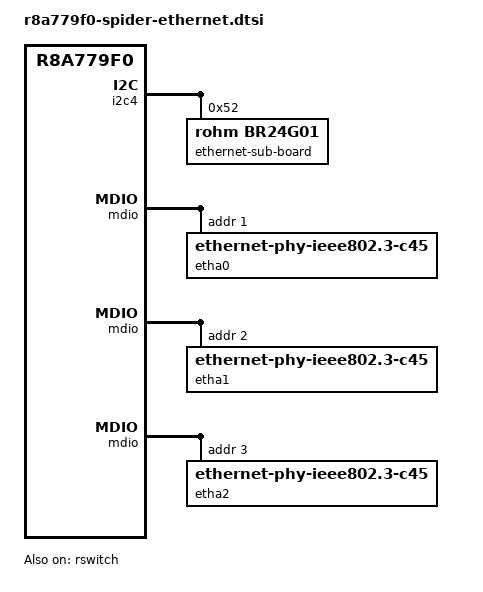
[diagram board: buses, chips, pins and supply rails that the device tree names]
// SPDX-License-Identifier: GPL-2.0
/*
 * Device Tree Source for the Spider Ethernet sub-board
 *
 * Copyright (C) 2021 Renesas Electronics Corp.
 */

&pfc {
	tsn0_pins: tsn0 {
		mux {
			groups = "tsn0_link", "tsn0_mdio";
			function = "tsn0";
			drive-strength = <18>;
			power-source = <1800>;
		};

		pins_mdio {
			groups = "tsn0_mdio";
			drive-strength = <18>;
			power-source = <1800>;
		};
	};

	tsn1_pins: tsn1 {
		mux {
			groups = "tsn1_link", "tsn1_mdio";
			function = "tsn1";
			drive-strength = <18>;
			power-source = <1800>;
		};

		pins_mdio {
			groups = "tsn1_mdio";
			drive-strength = <18>;
			power-source = <1800>;
		};
	};

	tsn2_pins: tsn2 {
		mux {
			groups = "tsn2_link", "tsn2_mdio";
			function = "tsn2";
			drive-strength = <18>;
			power-source = <1800>;
		};

		pins_mdio {
			groups = "tsn2_mdio";
			drive-strength = <18>;
			power-source = <1800>;
		};
	};
};

&i2c4 {
	eeprom@52 {
		compatible = "rohm,br24g01", "atmel,24c01";
		label = "ethernet-sub-board";
		reg = <0x52>;
		pagesize = <8>;
	};
};

&rswitch {
	pinctrl-0 = <&tsn0_pins>, <&tsn1_pins>, <&tsn2_pins>;
	pinctrl-names = "default";
	phy-mode = "sgmii";
	status = "okay";

	ethernet-ports {
		#address-cells = <1>;
		#size-cells = <0>;

		port@0 {
			reg = <0>;
			phy-handle = <&etha0>;

			mdio {
				#address-cells = <1>;
				#size-cells = <0>;

				etha0: ethernet-phy@1 {
					reg = <1>;
					compatible = "ethernet-phy-ieee802.3-c45";
				};
			};
		};
		port@1 {
			reg = <1>;
			phy-handle = <&etha1>;

			mdio {
				#address-cells = <1>;
				#size-cells = <0>;

				etha1: ethernet-phy@2 {
					reg = <2>;
					compatible = "ethernet-phy-ieee802.3-c45";
				};
			};
		};
		port@2 {
			reg = <2>;
			phy-handle = <&etha2>;

			mdio {
				#address-cells = <1>;
				#size-cells = <0>;

				etha2: ethernet-phy@3 {
					reg = <3>;
					compatible = "ethernet-phy-ieee802.3-c45";
				};
			};
		};
	};
};
